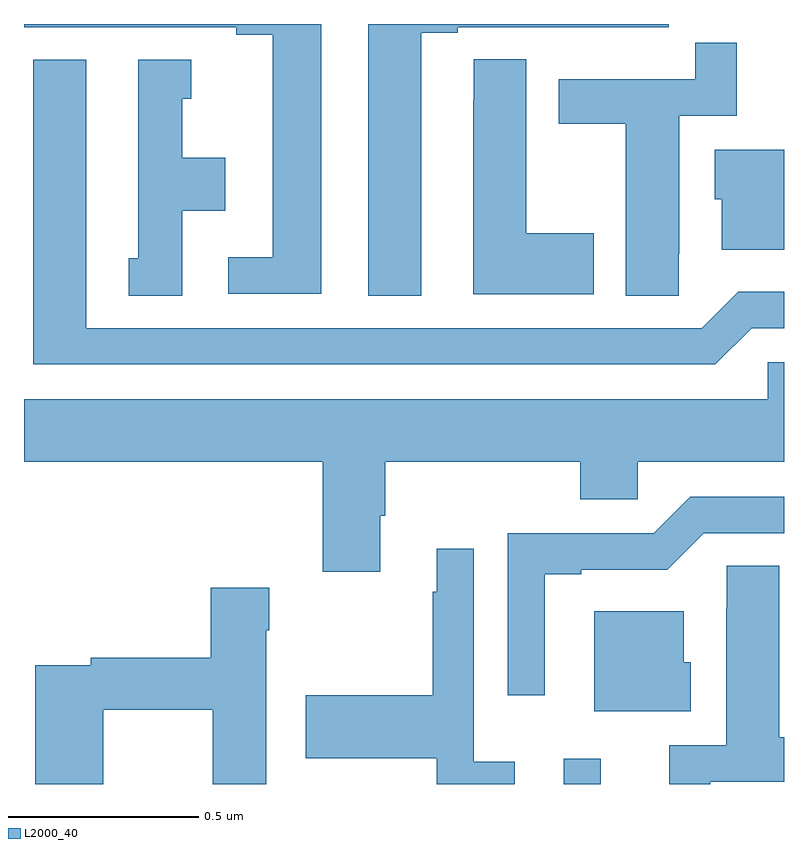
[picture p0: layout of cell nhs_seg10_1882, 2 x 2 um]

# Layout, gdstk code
import gdstk
lib = gdstk.Library(unit=1e-6, precision=1e-09)
def R(c, l, rs):  # rectangles x0, y0, x1, y1
    for r in rs: c.add(gdstk.rectangle(r[:2], r[2:], *l))
def P(c, l, *ps):  # polygons
    for p in ps: c.add(gdstk.Polygon(p, *l))
L2000_40 = (2000, 40)

nhs_seg10_1882 = lib.new_cell('nhs_seg10_1882')
R(nhs_seg10_1882, L2000_40, [(135.42,1267.5,135.518,1267.567)])
P(nhs_seg10_1882, L2000_40, [(135.046,1269.477),(135.142,1269.477),(135.142,1269.492),(135.418,1269.492),(135.418,1269.491),(135.584,1269.491),(135.584,1269.492),(135.697,1269.492),(135.697,1269.5),(134.906,1269.5),(134.906,1268.785),(135.046,1268.785)],
  [(134.782,1269.5),(134,1269.5),(134,1269.492),(134.558,1269.492),(134.558,1269.472),(134.654,1269.472),(134.654,1268.886),(134.538,1268.886),(134.538,1268.79),(134.782,1268.79)],
  [(135.723,1268.896),(135.724,1268.896),(135.724,1269.258),(135.875,1269.258),(135.875,1269.451),(135.766,1269.451),(135.766,1269.354),(135.407,1269.354),(135.407,1269.238),(135.584,1269.238),(135.584,1268.785),(135.723,1268.785)],
  [(135.499,1268.949),(135.322,1268.949),(135.322,1269.407),(135.183,1269.407),(135.183,1269.299),(135.182,1269.299),(135.182,1268.789),(135.499,1268.789)],
  [(135.915,1268.7),(136,1268.7),(136,1268.796),(135.879,1268.796),(135.783,1268.7),(134.164,1268.7),(134.164,1269.406),(134.024,1269.406),(134.024,1268.604),(135.819,1268.604)],
  [(134.416,1269.008),(134.53,1269.008),(134.53,1269.148),(134.416,1269.148),(134.416,1269.303),(134.44,1269.303),(134.44,1269.406),(134.3,1269.406),(134.3,1268.883),(134.276,1268.883),(134.276,1268.785),(134.416,1268.785)],
  [(136,1269.169),(135.818,1269.169),(135.818,1269.039),(135.836,1269.039),(135.836,1268.906),(136,1268.906)],
  [(134.938,1268.206),(134.951,1268.206),(134.951,1268.348),(135.464,1268.348),(135.464,1268.25),(135.615,1268.25),(135.615,1268.348),(136,1268.348),(136,1268.61),(135.957,1268.61),(135.957,1268.512),(134,1268.512),(134,1268.348),(134.786,1268.348),(134.786,1268.058),(134.938,1268.058)],
  [(135.37,1268.052),(135.466,1268.052),(135.466,1268.064),(135.693,1268.064),(135.789,1268.16),(136,1268.16),(136,1268.256),(135.753,1268.256),(135.657,1268.16),(135.273,1268.16),(135.273,1267.734),(135.37,1267.734)],
  [(135.292,1267.558),(135.183,1267.558),(135.183,1268.119),(135.086,1268.119),(135.086,1268.006),(135.075,1268.006),(135.075,1267.734),(134.742,1267.734),(134.742,1267.568),(135.086,1267.568),(135.086,1267.5),(135.292,1267.5)],
  [(135.806,1267.506),(136,1267.506),(136,1267.623),(135.988,1267.623),(135.988,1268.075),(135.849,1268.075),(135.849,1267.964),(135.848,1267.964),(135.848,1267.602),(135.698,1267.602),(135.698,1267.5),(135.806,1267.5)],
  [(134.208,1267.696),(134.497,1267.696),(134.497,1267.5),(134.638,1267.5),(134.638,1267.904),(134.646,1267.904),(134.646,1268.017),(134.492,1268.017),(134.492,1267.832),(134.176,1267.832),(134.176,1267.812),(134.03,1267.812),(134.03,1267.5),(134.208,1267.5)],
  [(135.754,1267.821),(135.736,1267.821),(135.736,1267.954),(135.5,1267.954),(135.5,1267.691),(135.754,1267.691)])

lib.write_gds('nhs_seg10_1882.gds')
